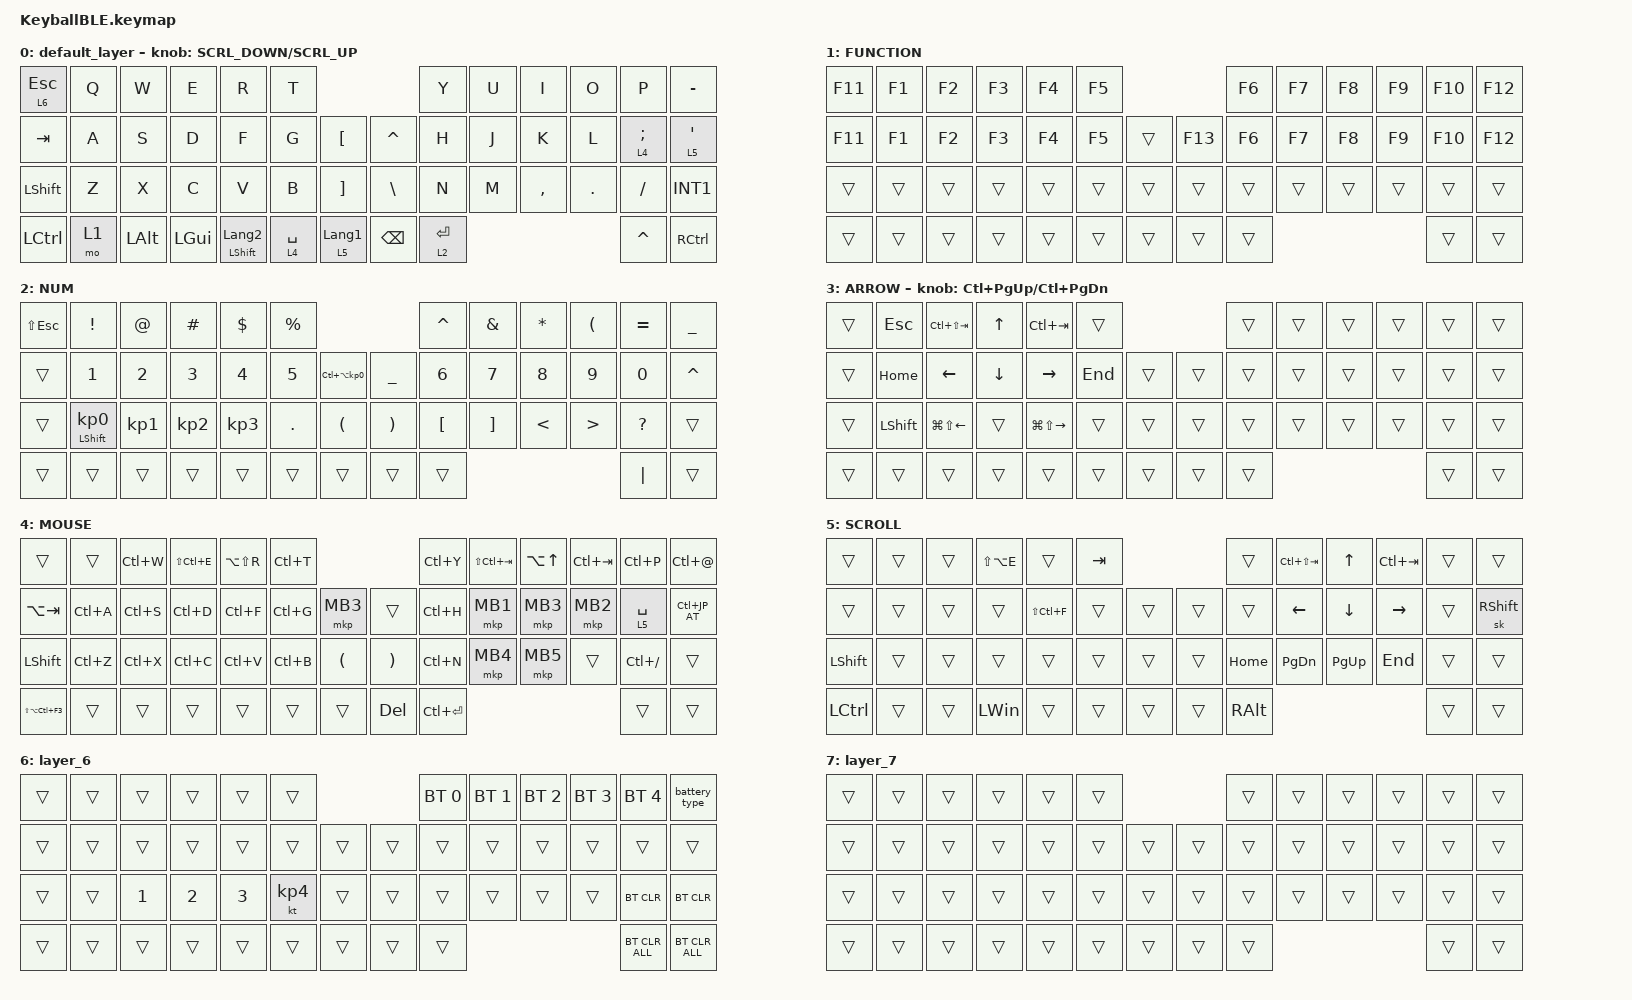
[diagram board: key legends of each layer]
#define ZMK_POINTING_DEFAULT_SCRL_VAL 120    // default: 10

#include <behaviors.dtsi>
#include <dt-bindings/zmk/bt.h>
#include <dt-bindings/zmk/keys.h>
#include <dt-bindings/zmk/pointing.h>

#define MOUSE 4
#define SCROLL 5
#define NUM 6

// OS設定を日本語キーボードのまま使用するための変換定義

#define JP_DQUOTE       AT                // "
#define JP_AMPERSAND    CARET             // &
#define JP_QUOTE        AMPERSAND         // '
#define JP_EQUAL        UNDER             // =
#define JP_CARET        EQUAL             // ^
#define JP_YEN          0x89              // ¥
#define JP_PLUS         COLON             // +
#define JP_TILDE        PLUS              // ~
#define JP_PIPE         LS(0x89)          // |
#define JP_AT           LEFT_BRACKET      // @
#define JP_COLON        SINGLE_QUOTE      // :
#define JP_ASTERISK     DOUBLE_QUOTES     // *
#define JP_BACKQUOTE    LEFT_BRACE        // `
#define JP_UNDERSCORE   LS(0x87)          // _
#define JP_LBRACKET     RIGHT_BRACKET     // [
#define JP_RBRACKET     BACKSLASH         // ]
#define JP_LPAREN       ASTERISK          // (
#define JP_RPAREN       LEFT_PARENTHESIS  // )
#define JP_LBRACE       RIGHT_BRACE       // {
#define JP_RBRACE       PIPE              // }
#define JP_KANA         LANGUAGE_1        // かな
#define JP_EISU         LANGUAGE_2        // 英数
#define JP_HANZEN       GRAVE             // 半角/全角

&mt {
    flavor = "balanced";
    quick-tap-ms = <0>;
};

/ {
    combos {
        compatible = "zmk,combos";

        double_quotation {
            bindings = <&kp DOUBLE_QUOTES>;
            key-positions = <20 21>;
        };

        sumfunctionlayer {
            bindings = <&mo 1>;
            key-positions = <46 45>;
            layers = <0>;
        };

        comboNUBS {
            bindings = <&kp JP_YEN>;
            key-positions = <11 10>;
        };

        windowssleepunlock {
            bindings = <&kp LC(LA(DELETE))>;
            key-positions = <50 49>;
        };

        macrowindows {
            bindings = <&kp RIGHT_WIN>;
            key-positions = <35 36>;
        };

        tabcombo {
            bindings = <&kp TAB>;
            key-positions = <13 14>;
        };

        shiftcombo {
            bindings = <&kp LEFT_SHIFT>;
            key-positions = <27 28>;
        };

        leftcombo {
            bindings = <&kp LCTRL>;
            key-positions = <41 42>;
        };

        esccombo {
            bindings = <&kp ESCAPE>;
            key-positions = <1 2>;
        };
    };

    macros {
        to_layer_0: to_layer_0 {
            compatible = "zmk,behavior-macro-one-param";
            #binding-cells = <1>;
            bindings = <&to 0 &macro_param_1to1 &kp MACRO_PLACEHOLDER>;
            label = "TO_LAYER_0";
        };
    };

    behaviors {
        lt_to_layer_0: lt_to_layer_0 {
            compatible = "zmk,behavior-hold-tap";
            label = "LAYER_TAP_TO_0";
            bindings = <&mo>, <&to_layer_0>;

            #binding-cells = <2>;
            tapping-term-ms = <200>;
        };

        ROTATE: ROTATE {
            compatible = "zmk,behavior-sensor-rotate-var";
            label = "ROTATE";
            #sensor-binding-cells = <2>;
            bindings = <&msc>, <&msc>;

            tap-ms = <20>;
        };

        battery_type: battery_type {
            compatible = "zmk,behavior-battery-type";
            #binding-cells = <0>;
        };
    };

    keymap {
        compatible = "zmk,keymap";

        default_layer {
            bindings = <
&lt 6 ESC  &kp Q  &kp W     &kp E         &kp R                      &kp T                                              &kp Y        &kp U  &kp I      &kp O    &kp P            &kp MINUS
&kp TAB    &kp A  &kp S     &kp D         &kp F                      &kp G        &kp JP_AT           &kp JP_AMPERSAND  &kp H        &kp J  &kp K      &kp L    &lt 4 SEMICOLON  &lt 5 APOS
&kp LSHFT  &kp Z  &kp X     &kp C         &kp V                      &kp B        &kp JP_LBRACKET     &kp JP_RBRACKET   &kp N        &kp M  &kp COMMA  &kp DOT  &kp SLASH        &kp INT1
&kp LCTRL  &mo 1  &kp LALT  &kp LEFT_GUI  &mt LEFT_SHIFT LANGUAGE_2  &lt 4 SPACE  &lt 5 LANGUAGE_1    &kp BACKSPACE     &lt 2 ENTER                             &kp CARET        &kp RCTRL
            >;

            sensor-bindings = <&ROTATE SCRL_DOWN SCRL_UP>;
        };

        FUNCTION {
            bindings = <
&kp F11  &kp F1  &kp F2  &kp F3  &kp F4  &kp F5                     &kp F6  &kp F7  &kp F8  &kp F9  &kp F10  &kp F12
&kp F11  &kp F1  &kp F2  &kp F3  &kp F4  &kp F5  &trans    &kp F13  &kp F6  &kp F7  &kp F8  &kp F9  &kp F10  &kp F12
&trans   &trans  &trans  &trans  &trans  &trans  &trans    &trans   &trans  &trans  &trans  &trans  &trans   &trans
&trans   &trans  &trans  &trans  &trans  &trans  &trans    &trans   &trans                          &trans   &trans
            >;
        };

        NUM {
            bindings = <
&kp LS(ESCAPE)  &kp EXCLAMATION             &kp JP_DQUOTE    &kp HASH         &kp DOLLAR       &kp PERCENT                                                     &kp JP_AMPERSAND  &kp JP_QUOTE       &kp JP_LPAREN  &kp JP_RPAREN     &kp JP_CARET  &kp JP_EQUAL
&trans          &kp NUMBER_1                &kp NUMBER_2     &kp NUMBER_3     &kp NUMBER_4     &kp NUMBER_5  &kp LC(LA(KP_NUMBER_0))    &kp UNDERSCORE         &kp NUMBER_6      &kp NUMBER_7       &kp NUMBER_8   &kp N9            &kp NUMBER_0  &kp CARET
&trans          &mt LEFT_SHIFT KP_NUMBER_0  &kp KP_NUMBER_1  &kp KP_NUMBER_2  &kp KP_NUMBER_3  &kp PERIOD    &kp LEFT_PARENTHESIS       &kp RIGHT_PARENTHESIS  &kp LEFT_BRACKET  &kp RIGHT_BRACKET  &kp LESS_THAN  &kp GREATER_THAN  &kp QUESTION  &trans
&trans          &trans                      &trans           &trans           &trans           &trans        &trans                     &trans                 &trans                                                                &kp PIPE      &trans
            >;
        };

        ARROW {
            bindings = <
&trans  &kp ESCAPE      &kp LC(LS(TAB))         &kp UP_ARROW    &kp LC(TAB)              &trans                     &trans  &trans  &trans  &trans  &trans  &trans
&trans  &kp HOME        &kp LEFT_ARROW          &kp DOWN_ARROW  &kp RIGHT_ARROW          &kp END  &trans    &trans  &trans  &trans  &trans  &trans  &trans  &trans
&trans  &kp LEFT_SHIFT  &kp LG(LS(LEFT_ARROW))  &trans          &kp LG(LS(RIGHT_ARROW))  &trans   &trans    &trans  &trans  &trans  &trans  &trans  &trans  &trans
&trans  &trans          &trans                  &trans          &trans                   &trans   &trans    &trans  &trans                          &trans  &trans
            >;

            sensor-bindings = <&inc_dec_kp LC(PAGE_UP) LC(PAGE_DOWN)>;
        };

        MOUSE {
            bindings = <
&trans              &trans     &kp LC(W)  &kp LS(LC(E))  &kp LA(LS(R))  &kp LC(T)                                                 &kp LC(Y)      &kp LS(LC(TAB))  &kp LA(UP_ARROW)  &kp LC(TAB)  &kp LC(P)      &kp LC(AT_SIGN)
&kp LA(TAB)         &kp LC(A)  &kp LC(S)  &kp LC(D)      &kp LC(F)      &kp LC(G)  &mkp MB3                &trans                 &kp LC(H)      &mkp MB1         &mkp MB3          &mkp MB2     &lt 5 SPACE    &kp LC(JP_AT)
&kp LEFT_SHIFT      &kp LC(Z)  &kp LC(X)  &kp LC(C)      &kp LC(V)      &kp LC(B)  &kp LEFT_PARENTHESIS    &kp RIGHT_PARENTHESIS  &kp LC(N)      &mkp MB4         &mkp MB5          &trans       &kp LC(SLASH)  &trans
&kp LS(LA(LC(F3)))  &trans     &trans     &trans         &trans         &trans     &trans                  &kp DELETE             &kp LC(ENTER)                                                  &trans         &trans
            >;
        };

        SCROLL {
            bindings = <
&trans      &trans  &trans  &kp LS(LA(E))  &trans         &kp TAB                    &trans         &kp LC(LS(TAB))  &kp UP_ARROW    &kp LC(TAB)      &trans  &trans
&trans      &trans  &trans  &trans         &kp LS(LC(F))  &trans   &trans    &trans  &trans         &kp LEFT_ARROW   &kp DOWN_ARROW  &kp RIGHT_ARROW  &trans  &sk RIGHT_SHIFT
&kp LSHIFT  &trans  &trans  &trans         &trans         &trans   &trans    &trans  &kp HOME       &kp PAGE_DOWN    &kp PAGE_UP     &kp END          &trans  &trans
&kp LCTRL   &trans  &trans  &kp LEFT_WIN   &trans         &trans   &trans    &trans  &kp RIGHT_ALT                                                    &trans  &trans
            >;
        };

        layer_6 {
            bindings = <
&trans  &trans  &trans        &trans        &trans        &trans                       &bt BT_SEL 0  &bt BT_SEL 1  &bt BT_SEL 2  &bt BT_SEL 3  &bt BT_SEL 4    &battery_type
&trans  &trans  &trans        &trans        &trans        &trans     &trans    &trans  &trans        &trans        &trans        &trans        &trans          &trans
&trans  &trans  &kp NUMBER_1  &kp NUMBER_2  &kp NUMBER_3  &kt KP_N4  &trans    &trans  &trans        &trans        &trans        &trans        &bt BT_CLR      &bt BT_CLR
&trans  &trans  &trans        &trans        &trans        &trans     &trans    &trans  &trans                                                  &bt BT_CLR_ALL  &bt BT_CLR_ALL
            >;
        };

        layer_7 {
            bindings = <
&trans  &trans  &trans  &trans  &trans  &trans                    &trans  &trans  &trans  &trans  &trans  &trans
&trans  &trans  &trans  &trans  &trans  &trans  &trans    &trans  &trans  &trans  &trans  &trans  &trans  &trans
&trans  &trans  &trans  &trans  &trans  &trans  &trans    &trans  &trans  &trans  &trans  &trans  &trans  &trans
&trans  &trans  &trans  &trans  &trans  &trans  &trans    &trans  &trans                          &trans  &trans
            >;
        };
    };
};
